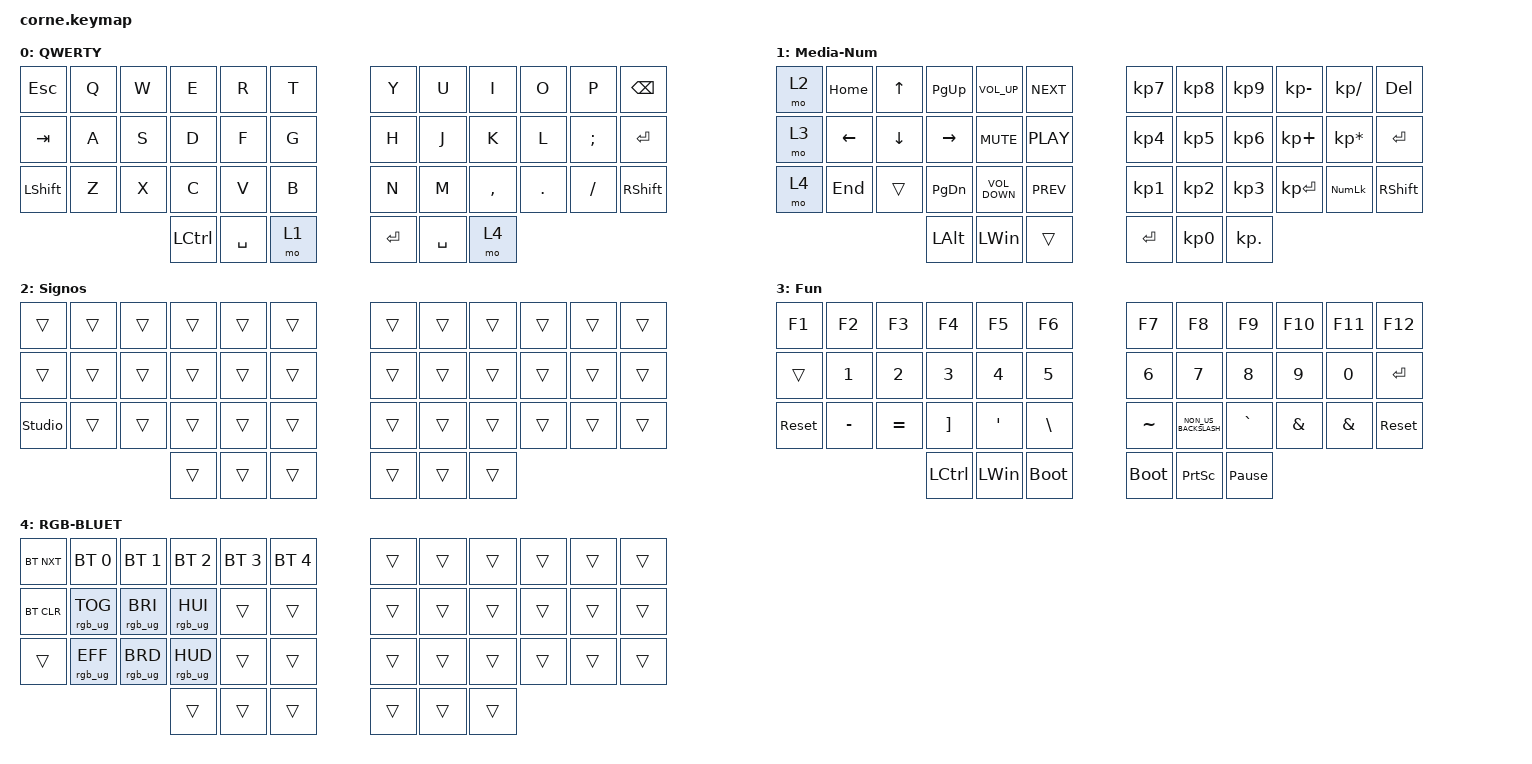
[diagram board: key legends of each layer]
#include <behaviors.dtsi>
#include <dt-bindings/zmk/bt.h>
#include <dt-bindings/zmk/keys.h>
#include <dt-bindings/zmk/backlight.h>
#include <dt-bindings/zmk/rgb.h>

#define Main    0
#define Num     1
#define Signos  2
#define Fun     3
#define RGB     4

//numero de leds inferiores
&led_strip {
    chain-length = <27>;
};

// Short versions 

#define RGBON   &rgb_ug RGB_ON
#define RGBOFF  &rgb_ug RGB_OFF
#define RGBTOG  &rgb_ug RGB_TOG
#define RGBHUI  &rgb_ug RGB_HUI
#define RGBHUD  &rgb_ug RGB_HUD
#define RGBSAI  &rgb_ug RGB_SAI
#define RGBSAD  &rgb_ug RGB_SAD
#define RGBBRI  &rgb_ug RGB_BRI
#define RGBBRD  &rgb_ug RGB_BRD
#define RGBEFF  &rgb_ug RGB_EFF

/ {
    behaviors {
        hm: homerow_mods {
            compatible = "zmk,behavior-hold-tap";
            label = "HOMEROW_MODS";
            #binding-cells = <2>;
            tapping-term-ms = <250>;
            quick_tap_ms = <0>;
            flavor = "tap-preferred";
            bindings = <&kp>, <&kp>;
        };
    };

    keymap {
        compatible = "zmk,keymap";

        Main {
            // -----------------------------------------------------------------------------------------
            // | ESCAPE |  Q  |  W  |  E  |  R  |  T   |          |  Y    |  U   |  I   |  O  |  P  |BKSP |
            // | TAB    |  A  |  S  |  D  |  F  |  G   |          |  H    |  J   |  K   |  L  |  ;  | ENT |
            // | LSHFT  |  Z  |  X  |  C  |  V  |  B   |          |  N    |  M   |  ,   |  .  |  /  |RSHFT|
            //                      | CTL | SPC | mo 1 |          | ENTER | SPC  | mo 3 |

            bindings = <
&kp ESCAPE  &kp Q  &kp W  &kp E              &kp R         &kp T        &kp Y      &kp U      &kp I      &kp O    &kp P     &kp BACKSPACE
&kp TAB     &kp A  &kp S  &kp D              &kp F         &kp G        &kp H      &kp J      &kp K      &kp L    &kp SEMI  &kp ENTER
&kp LSHFT   &kp Z  &kp X  &kp C              &kp V         &kp B        &kp N      &kp M      &kp COMMA  &kp DOT  &kp FSLH  &kp RIGHT_SHIFT
                          &kp LEFT_CONTROL   &kp SPACE     &mo 1        &kp ENTER  &kp SPACE  &mo 4
            >;

            label = " QWERTY ";
        };

        Num {
            // -----------------------------------------------------------------------------------------
            // | mo 2 | HOME | UP   | PAGE_UP   | VOLUME_UP     | NEXT|          | N7  | N8  | N9  |  -  |  /  |DELETE   |
            // | mo 3 | LEFT | DOWN | RIGHT     | MUTE          | PLAY|          | N4  | N5  | N6  |  +  |  *  | ENT     |
            // |LSHFT | END  | END  | PAGE_DOWN | VOLUME_DOWN   | PREV|          | N1  | N2  | N3  | INT | NLK |RSHFT    |
            //                      | ALT       | WIN           |     |          | ENT | N0  | .   |

            bindings = <
&mo 2   &kp HOME        &kp UP_ARROW    &kp PAGE_UP       &kp C_VOLUME_UP    &kp C_NEXT          &kp KP_NUMBER_7  &kp KP_NUMBER_8  &kp KP_NUMBER_9  &kp KP_SUBTRACT  &kp KP_DIVIDE    &kp DELETE
&mo 3   &kp LEFT_ARROW  &kp DOWN_ARROW  &kp RIGHT_ARROW   &kp C_MUTE         &kp C_PLAY          &kp KP_NUMBER_4  &kp KP_NUMBER_5  &kp KP_NUMBER_6  &kp KP_PLUS      &kp KP_MULTIPLY  &kp ENTER
&mo 4   &kp END         &trans          &kp PAGE_DOWN     &kp C_VOLUME_DOWN  &kp C_PREV          &kp KP_NUMBER_1  &kp KP_NUMBER_2  &kp KP_NUMBER_3  &kp KP_ENTER     &kp KP_NUMLOCK   &kp RIGHT_SHIFT
                                        &kp LEFT_ALT      &kp LEFT_WIN       &trans              &kp ENTER        &kp KP_NUMBER_0  &kp KP_DOT
            >;

            label = "Media-Num";
        };

        Signos {
            // -----------------------------------------------------------------------------------------
            // |    |    |    |    |    |    |         |     |     |     |     |     |     |
            // |    |    |    |    |    |    |         |     |     |     |     |     |     |
            // |    |    |    |    |    |    |         |     |     |     |     |     |     |
            //           |    |    |    |    |         |     |     |     |

            bindings = <
&trans          &trans  &trans  &trans  &trans  &trans       &trans  &trans  &trans  &trans  &trans  &trans
&trans          &trans  &trans  &trans  &trans  &trans       &trans  &trans  &trans  &trans  &trans  &trans
&studio_unlock  &trans  &trans  &trans  &trans  &trans       &trans  &trans  &trans  &trans  &trans  &trans
                                &trans  &trans  &trans       &trans  &trans  &trans
            >;

            label = "Signos";
        };



        Fun  {
            // -----------------------------------------------------------------------------------------
            // | F1  | F2  | F3  | F4  | F5  | F6   |          | F7   | F8  | F9  | F10 | F11 | F12 |
            // |     |  1  |  2  |  3  |  4  |  5   |          |  6   |  7  |  8  |  9  |  0  | ENT |
            // |reset|  |  |  '  |  ¿  |  +  |  {   |          |  }   |PLAY |NEXT |VOLUP|VOLDN|reset|
            //                   | CTL | WIN | boot |          | boot |PRSC |PAUSE|

            bindings = <
&kp F1          &kp F2        &kp F3        &kp F4             &kp F5          &kp F6               &kp F7        &kp F8                &kp F9           &kp F10        &kp F11        &kp F12
&trans          &kp NUMBER_1  &kp NUMBER_2  &kp NUMBER_3       &kp NUMBER_4    &kp NUMBER_5         &kp NUMBER_6  &kp NUMBER_7          &kp NUMBER_8     &kp NUMBER_9   &kp NUMBER_0   &kp ENTER
&sys_reset      &kp MINUS     &kp EQUAL     &kp RIGHT_BRACKET  &kp APOSTROPHE  &kp BACKSLASH        &kp TILDE     &kp NON_US_BACKSLASH  &kp GRAVE        &kp AMPERSAND  &kp AMPERSAND  &sys_reset
                                            &kp LEFT_CONTROL   &kp LEFT_WIN    &bootloader          &bootloader        &kp PRINTSCREEN       &kp PAUSE_BREAK
            >;

            label = "Fun";
        };



        RGB {
            // -----------------------------------------------------------------------------------------
            // | BT NXT | BT0       | BT1       | BT2      | BT3  | BT4  |          |     |     |     |     |     |     |
            // |        |           |  RGB_BRI  | RGB_HUI  |      |      |          |     |     |     |     |     |     |
            // | reset  |  RGB_EFF  |  RGB_BRD  | RGB_HUD  |      |      |          |     |     |     |     |     |reset|
            //                                  | CTL      | WIN  |      |          |     |     |     |

            bindings = <
&bt BT_NXT      &bt BT_SEL 0      &bt BT_SEL 1      &bt BT_SEL 2      &bt BT_SEL 3  &bt BT_SEL 4            &trans         &trans          &trans         &trans         &trans         &trans
&bt BT_CLR      &rgb_ug RGB_TOG   &rgb_ug RGB_BRI   &rgb_ug RGB_HUI   &trans        &trans                  &trans         &trans          &trans         &trans         &trans         &trans
&trans          &rgb_ug RGB_EFF   &rgb_ug RGB_BRD   &rgb_ug RGB_HUD   &trans        &trans                  &trans         &trans          &trans         &trans         &trans         &trans
                                                    &trans            &trans        &trans                  &trans         &trans          &trans
            >;

            label = "RGB-BLUET";
        };
    };
};
